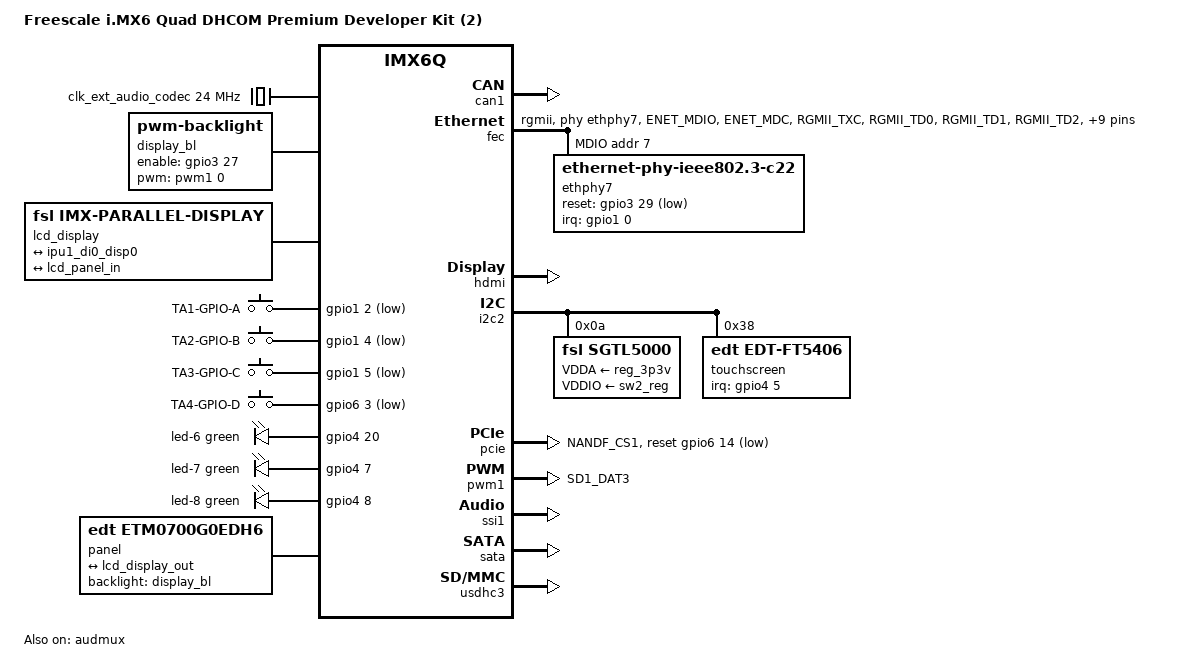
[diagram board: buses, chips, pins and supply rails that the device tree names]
// SPDX-License-Identifier: (GPL-2.0+)
/*
 * Copyright (C) 2015 DH electronics GmbH
 * Copyright (C) 2018 Marek Vasut <marex@denx.de>
 */

/dts-v1/;

#include "imx6q-dhcom-som.dtsi"
#include <dt-bindings/leds/common.h>

/ {
	model = "Freescale i.MX6 Quad DHCOM Premium Developer Kit (2)";
	compatible = "dh,imx6q-dhcom-pdk2", "dh,imx6q-dhcom-som", "fsl,imx6q";

	chosen {
		stdout-path = "serial0:115200n8";
	};

	clk_ext_audio_codec: clock-codec {
		compatible = "fixed-clock";
		#clock-cells = <0>;
		clock-frequency = <24000000>;
	};

	display_bl: display-bl {
		compatible = "pwm-backlight";
		pwms = <&pwm1 0 50000 PWM_POLARITY_INVERTED>;
		brightness-levels = <0 16 22 30 40 55 75 102 138 188 255>;
		default-brightness-level = <8>;
		enable-gpios = <&gpio3 27 GPIO_ACTIVE_HIGH>;
		status = "okay";
	};

	lcd_display: disp0 {
		compatible = "fsl,imx-parallel-display";
		#address-cells = <1>;
		#size-cells = <0>;
		interface-pix-fmt = "rgb24";
		pinctrl-names = "default";
		pinctrl-0 = <&pinctrl_ipu1_lcdif>;
		status = "okay";

		port@0 {
			reg = <0>;

			lcd_display_in: endpoint {
				remote-endpoint = <&ipu1_di0_disp0>;
			};
		};

		port@1 {
			reg = <1>;

			lcd_display_out: endpoint {
				remote-endpoint = <&lcd_panel_in>;
			};
		};
	};

	gpio-keys {
		#size-cells = <0>;
		compatible = "gpio-keys";
		pinctrl-names = "default";
		pinctrl-0 = <&pinctrl_keys_pdk2>;

		button-0 {
			label = "TA1-GPIO-A";
			linux,code = <KEY_A>;
			gpios = <&gpio1 2 GPIO_ACTIVE_LOW>;
			wakeup-source;
		};

		button-1 {
			label = "TA2-GPIO-B";
			linux,code = <KEY_B>;
			gpios = <&gpio1 4 GPIO_ACTIVE_LOW>;
			wakeup-source;
		};

		button-2 {
			label = "TA3-GPIO-C";
			linux,code = <KEY_C>;
			gpios = <&gpio1 5 GPIO_ACTIVE_LOW>;
			wakeup-source;
		};

		button-3 {
			label = "TA4-GPIO-D";
			linux,code = <KEY_D>;
			gpios = <&gpio6 3 GPIO_ACTIVE_LOW>;
			wakeup-source;
		};
	};

	led {
		compatible = "gpio-leds";
		pinctrl-names = "default";
		pinctrl-0 = <&pinctrl_leds_pdk2>;

		/*
		 * Disable led-5, because GPIO E is
		 * already used as touch interrupt.
		 */
		led-5 {
			color = <LED_COLOR_ID_GREEN>;
			function = LED_FUNCTION_INDICATOR;
			gpios = <&gpio4 5 GPIO_ACTIVE_HIGH>; /* GPIO E */
			default-state = "off";
			status = "disabled";
		};

		led-6 {
			color = <LED_COLOR_ID_GREEN>;
			function = LED_FUNCTION_INDICATOR;
			gpios = <&gpio4 20 GPIO_ACTIVE_HIGH>; /* GPIO F */
			default-state = "off";
		};

		led-7 {
			color = <LED_COLOR_ID_GREEN>;
			function = LED_FUNCTION_INDICATOR;
			gpios = <&gpio4 7 GPIO_ACTIVE_HIGH>; /* GPIO H */
			default-state = "off";
		};

		led-8 {
			color = <LED_COLOR_ID_GREEN>;
			function = LED_FUNCTION_INDICATOR;
			gpios = <&gpio4 8 GPIO_ACTIVE_HIGH>; /* GPIO I */
			default-state = "off";
		};
	};

	panel {
		compatible = "edt,etm0700g0edh6";
		backlight = <&display_bl>;

		port {
			lcd_panel_in: endpoint {
				remote-endpoint = <&lcd_display_out>;
			};
		};
	};

	sound {
		compatible = "fsl,imx-audio-sgtl5000";
		model = "imx-sgtl5000";
		ssi-controller = <&ssi1>;
		audio-codec = <&sgtl5000>;
		audio-routing =
			"MIC_IN", "Mic Jack",
			"Mic Jack", "Mic Bias",
			"LINE_IN", "Line In Jack",
			"Headphone Jack", "HP_OUT";
		mux-int-port = <1>;
		mux-ext-port = <3>;
	};
};

&audmux {
	pinctrl-names = "default";
	pinctrl-0 = <&pinctrl_audmux_ext>;
	status = "okay";
};

&can1 {
	status = "okay";
};

&can2 {
	status = "disabled";
};

/* 1G ethernet */
/delete-node/ &ethphy0;
&fec {
	phy-mode = "rgmii";
	phy-handle = <&ethphy7>;
	pinctrl-names = "default";
	pinctrl-0 = <&pinctrl_enet_1G>;
	status = "okay";

	mdio {
		#address-cells = <1>;
		#size-cells = <0>;

		ethphy7: ethernet-phy@7 { /* KSZ 9021 */
			compatible = "ethernet-phy-ieee802.3-c22";
			interrupt-parent = <&gpio1>;
			interrupts = <0 IRQ_TYPE_LEVEL_LOW>;
			pinctrl-0 = <&pinctrl_ethphy7>;
			pinctrl-names = "default";
			reg = <7>;
			reset-gpios = <&gpio3 29 GPIO_ACTIVE_LOW>;
			reset-assert-us = <1000>;
			reset-deassert-us = <1000>;
			rxc-skew-ps = <3000>;
			rxd0-skew-ps = <0>;
			rxd1-skew-ps = <0>;
			rxd2-skew-ps = <0>;
			rxd3-skew-ps = <0>;
			txc-skew-ps = <3000>;
			txd0-skew-ps = <0>;
			txd1-skew-ps = <0>;
			txd2-skew-ps = <0>;
			txd3-skew-ps = <0>;
			rxdv-skew-ps = <0>;
			txen-skew-ps = <0>;
		};
	};
};

&hdmi {
	ddc-i2c-bus = <&i2c2>;
	status = "okay";
};

&i2c2 {
	sgtl5000: codec@a {
		compatible = "fsl,sgtl5000";
		reg = <0x0a>;
		#sound-dai-cells = <0>;
		clocks = <&clk_ext_audio_codec>;
		VDDA-supply = <&reg_3p3v>;
		VDDIO-supply = <&sw2_reg>;
	};

	touchscreen@38 {
		pinctrl-names = "default";
		pinctrl-0 = <&pinctrl_touchscreen>;
		compatible = "edt,edt-ft5406";
		reg = <0x38>;
		interrupt-parent = <&gpio4>;
		interrupts = <5 IRQ_TYPE_EDGE_FALLING>; /* GPIO E */
	};
};

&iomuxc {
	pinctrl-names = "default";
	pinctrl-0 = <&pinctrl_hog_base &pinctrl_hog>;

	pinctrl_hog: hog-grp {
		fsl,pins = <
			MX6QDL_PAD_GPIO_2__GPIO1_IO02		0x400120b0
			MX6QDL_PAD_GPIO_4__GPIO1_IO04		0x400120b0
			MX6QDL_PAD_GPIO_5__GPIO1_IO05		0x400120b0
			MX6QDL_PAD_CSI0_DAT17__GPIO6_IO03	0x400120b0
			MX6QDL_PAD_DI0_PIN4__GPIO4_IO20		0x400120b0
			MX6QDL_PAD_KEY_ROW0__GPIO4_IO07		0x120b0
			MX6QDL_PAD_KEY_COL1__GPIO4_IO08		0x400120b0
			MX6QDL_PAD_NANDF_CS1__GPIO6_IO14	0x400120b0
			MX6QDL_PAD_NANDF_CS2__GPIO6_IO15	0x400120b0
			MX6QDL_PAD_KEY_ROW1__GPIO4_IO09		0x400120b0
			MX6QDL_PAD_SD3_DAT5__GPIO7_IO00		0x400120b0
			MX6QDL_PAD_SD3_DAT4__GPIO7_IO01		0x400120b0
			MX6QDL_PAD_CSI0_VSYNC__GPIO5_IO21	0x400120b0
			MX6QDL_PAD_GPIO_18__GPIO7_IO13		0x400120b0
			MX6QDL_PAD_SD1_CMD__GPIO1_IO18		0x400120b0
			MX6QDL_PAD_SD1_DAT0__GPIO1_IO16		0x400120b0
			MX6QDL_PAD_SD1_DAT1__GPIO1_IO17		0x400120b0
			MX6QDL_PAD_SD1_DAT2__GPIO1_IO19		0x400120b0
			MX6QDL_PAD_SD1_CLK__GPIO1_IO20		0x400120b0
			MX6QDL_PAD_CSI0_PIXCLK__GPIO5_IO18	0x400120b0
			MX6QDL_PAD_CSI0_MCLK__GPIO5_IO19	0x400120b0
			MX6QDL_PAD_KEY_COL0__GPIO4_IO06		0x400120b0
		>;
	};

	pinctrl_audmux_ext: audmux-ext-grp {
		fsl,pins = <
			MX6QDL_PAD_CSI0_DAT7__AUD3_RXD		0x130b0
			MX6QDL_PAD_CSI0_DAT4__AUD3_TXC		0x130b0
			MX6QDL_PAD_CSI0_DAT5__AUD3_TXD		0x110b0
			MX6QDL_PAD_CSI0_DAT6__AUD3_TXFS		0x130b0
		>;
	};

	pinctrl_enet_1G: enet-1G-grp {
		fsl,pins = <
			MX6QDL_PAD_ENET_MDIO__ENET_MDIO		0x100b0
			MX6QDL_PAD_ENET_MDC__ENET_MDC		0x100b0
			MX6QDL_PAD_RGMII_TXC__RGMII_TXC		0x100b0
			MX6QDL_PAD_RGMII_TD0__RGMII_TD0		0x100b0
			MX6QDL_PAD_RGMII_TD1__RGMII_TD1		0x100b0
			MX6QDL_PAD_RGMII_TD2__RGMII_TD2		0x100b0
			MX6QDL_PAD_RGMII_TD3__RGMII_TD3		0x100b0
			MX6QDL_PAD_RGMII_TX_CTL__RGMII_TX_CTL	0x100b0
			MX6QDL_PAD_ENET_REF_CLK__ENET_TX_CLK	0x100b0
			MX6QDL_PAD_RGMII_RXC__RGMII_RXC		0x1b0b0
			MX6QDL_PAD_RGMII_RD0__RGMII_RD0		0x1b0b0
			MX6QDL_PAD_RGMII_RD1__RGMII_RD1		0x1b0b0
			MX6QDL_PAD_RGMII_RD2__RGMII_RD2		0x1b0b0
			MX6QDL_PAD_RGMII_RD3__RGMII_RD3		0x1b0b0
			MX6QDL_PAD_RGMII_RX_CTL__RGMII_RX_CTL	0x1b0b0
		>;
	};

	pinctrl_ethphy7: ethphy7-grp {
		fsl,pins = <
			MX6QDL_PAD_EIM_D29__GPIO3_IO29		0xb0 /* Reset */
			MX6QDL_PAD_GPIO_0__GPIO1_IO00		0xb1 /* Int */
			MX6QDL_PAD_EIM_D26__GPIO3_IO26		0xb1 /* WOL */
		>;
	};

	pinctrl_ipu1_lcdif: ipu1-lcdif-grp {
		fsl,pins = <
			MX6QDL_PAD_DI0_DISP_CLK__IPU1_DI0_DISP_CLK	0x38
			MX6QDL_PAD_DI0_PIN15__IPU1_DI0_PIN15		0x38
			MX6QDL_PAD_DI0_PIN2__IPU1_DI0_PIN02		0x38
			MX6QDL_PAD_DI0_PIN3__IPU1_DI0_PIN03		0x38
			MX6QDL_PAD_DISP0_DAT0__IPU1_DISP0_DATA00	0x38
			MX6QDL_PAD_DISP0_DAT1__IPU1_DISP0_DATA01	0x38
			MX6QDL_PAD_DISP0_DAT2__IPU1_DISP0_DATA02	0x38
			MX6QDL_PAD_DISP0_DAT3__IPU1_DISP0_DATA03	0x38
			MX6QDL_PAD_DISP0_DAT4__IPU1_DISP0_DATA04	0x38
			MX6QDL_PAD_DISP0_DAT5__IPU1_DISP0_DATA05	0x38
			MX6QDL_PAD_DISP0_DAT6__IPU1_DISP0_DATA06	0x38
			MX6QDL_PAD_DISP0_DAT7__IPU1_DISP0_DATA07	0x38
			MX6QDL_PAD_DISP0_DAT8__IPU1_DISP0_DATA08	0x38
			MX6QDL_PAD_DISP0_DAT9__IPU1_DISP0_DATA09	0x38
			MX6QDL_PAD_DISP0_DAT10__IPU1_DISP0_DATA10	0x38
			MX6QDL_PAD_DISP0_DAT11__IPU1_DISP0_DATA11	0x38
			MX6QDL_PAD_DISP0_DAT12__IPU1_DISP0_DATA12	0x38
			MX6QDL_PAD_DISP0_DAT13__IPU1_DISP0_DATA13	0x38
			MX6QDL_PAD_DISP0_DAT14__IPU1_DISP0_DATA14	0x38
			MX6QDL_PAD_DISP0_DAT15__IPU1_DISP0_DATA15	0x38
			MX6QDL_PAD_DISP0_DAT16__IPU1_DISP0_DATA16	0x38
			MX6QDL_PAD_DISP0_DAT17__IPU1_DISP0_DATA17	0x38
			MX6QDL_PAD_DISP0_DAT18__IPU1_DISP0_DATA18	0x38
			MX6QDL_PAD_DISP0_DAT19__IPU1_DISP0_DATA19	0x38
			MX6QDL_PAD_DISP0_DAT20__IPU1_DISP0_DATA20	0x38
			MX6QDL_PAD_DISP0_DAT21__IPU1_DISP0_DATA21	0x38
			MX6QDL_PAD_DISP0_DAT22__IPU1_DISP0_DATA22	0x38
			MX6QDL_PAD_DISP0_DAT23__IPU1_DISP0_DATA23	0x38
			MX6QDL_PAD_EIM_D27__GPIO3_IO27			0x120b0
		>;
	};

	pinctrl_pwm1: pwm1-grp {
		fsl,pins = <
			MX6QDL_PAD_SD1_DAT3__PWM1_OUT		0x1b0b1
		>;
	};

	pinctrl_touchscreen: touchscreen-grp {
		fsl,pins = <
			MX6QDL_PAD_GPIO_19__GPIO4_IO05		0x1b0b1
		>;
	};

	pinctrl_pcie_reset: pcie-reset-grp {
		fsl,pins = <
			MX6QDL_PAD_NANDF_CS1__GPIO6_IO14	0x120b0
		>;
	};

	pinctrl_keys_pdk2: keys-pdk2-grp {
		fsl,pins = <
			MX6QDL_PAD_GPIO_2__GPIO1_IO02		0x120b0 /* TA1 */
			MX6QDL_PAD_GPIO_4__GPIO1_IO04		0x120b0 /* TA2 */
			MX6QDL_PAD_GPIO_5__GPIO1_IO05		0x120b0 /* TA3 */
			MX6QDL_PAD_CSI0_DAT17__GPIO6_IO03	0x120b0 /* TA4 */
		>;
	};

	pinctrl_leds_pdk2: leds-pdk2-grp {
		fsl,pins = <
			MX6QDL_PAD_DI0_PIN4__GPIO4_IO20		0x120b0 /* led6 */
			MX6QDL_PAD_KEY_ROW0__GPIO4_IO07		0x120b0 /* led7 */
			MX6QDL_PAD_KEY_COL1__GPIO4_IO08		0x120b0 /* led8 */
		>;
	};

};

&ipu1_di0_disp0 {
	remote-endpoint = <&lcd_display_in>;
};

&pcie {
	pinctrl-0 = <&pinctrl_pcie &pinctrl_pcie_reset>;
	reset-gpio = <&gpio6 14 GPIO_ACTIVE_LOW>;
	status = "okay";
};

&pwm1 {
	pinctrl-names = "default";
	pinctrl-0 = <&pinctrl_pwm1>;
	status = "okay";
};

&ssi1 {
	status = "okay";
};

&sata {
	status = "okay";
};

&usdhc3 {
	status = "okay";
};
